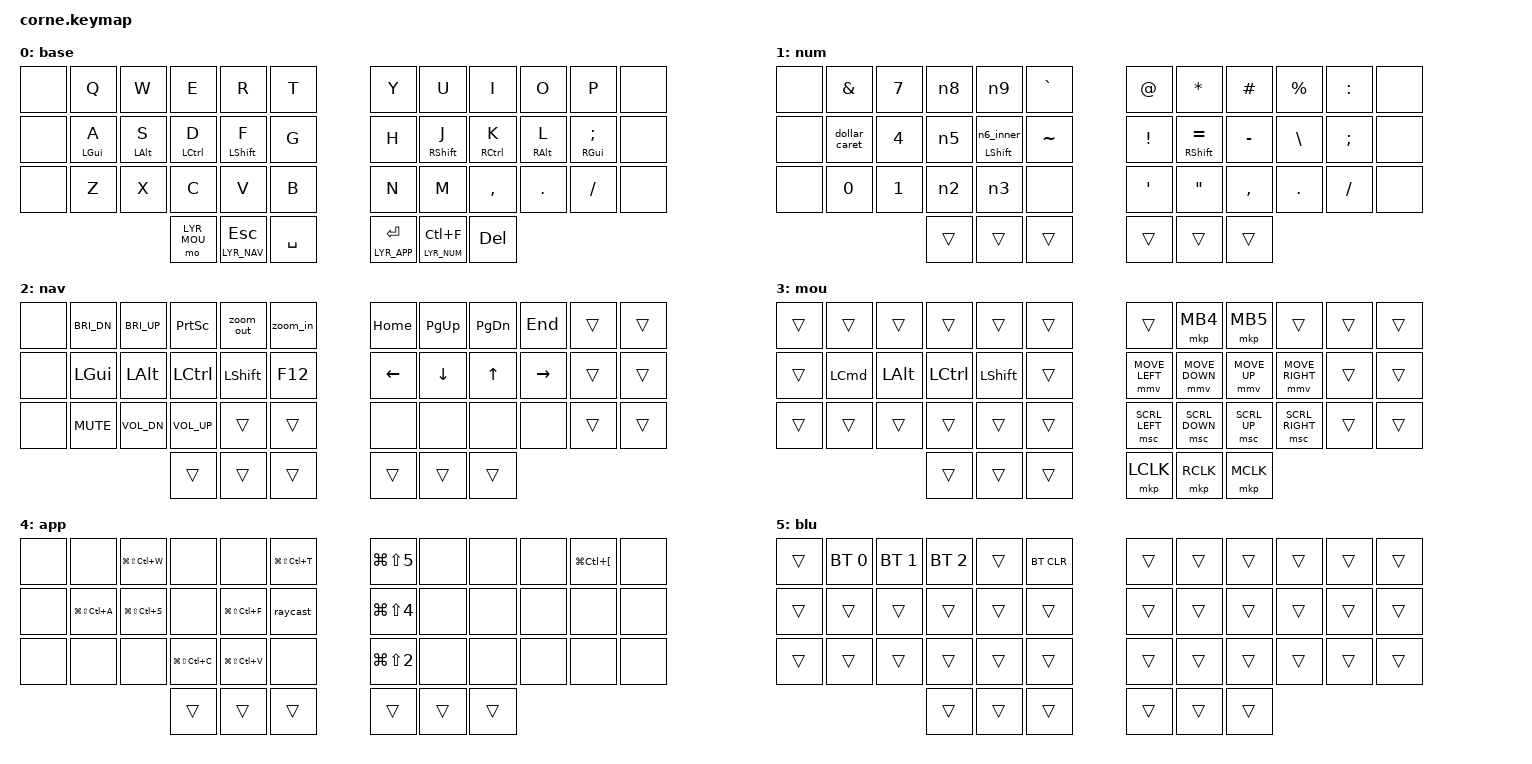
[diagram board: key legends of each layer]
/*
 * Copyright (c) 2020 The ZMK Contributors
 *
 * SPDX-License-Identifier: MIT
 */

#include <behaviors.dtsi>
#include <dt-bindings/zmk/bt.h>
#include <dt-bindings/zmk/keys.h>
#include <dt-bindings/zmk/pointing.h>

// Layer definitions
#define LYR_BASE 0
#define LYR_NUM  1
#define LYR_NAV  2
#define LYR_MOU  3
#define LYR_APP  4
#define LYR_BLU  5

/ {
    macros {
        vim_quit: vim_quit {
            compatible = "zmk,behavior-macro";
            #binding-cells = <0>;
            bindings = <&kp COLON &kp Q &kp EXCL &kp ENTER>;
        };
        raycast: raycast {
            compatible = "zmk,behavior-macro";
            #binding-cells = <0>;
            bindings = <&kp LG(SPACE)>;
        };
        zoom_out: zoom_out {
            compatible = "zmk,behavior-macro";
            #binding-cells = <0>;
            bindings = <&kp LG(MINUS)>;
        };
        zoom_in: zoom_in {
            compatible = "zmk,behavior-macro";
            #binding-cells = <0>;
            bindings = <&macro_press &kp LGUI &kp LSHFT>, <&macro_tap &kp EQUAL>, <&macro_release &kp LGUI &kp LSHFT>;
        };
    };

    behaviors {
        hml: home_row_mod_left {
            compatible = "zmk,behavior-hold-tap";
            #binding-cells = <2>;
            flavor = "balanced";
            require-prior-idle-ms = <150>;
            tapping-term-ms = <280>;
            quick-tap-ms = <175>;
            bindings = <&kp>, <&kp>;
            hold-trigger-key-positions = <6 7 8 9 10 11 18 19 20 21 22 23 30 31 32 33 34 35 39 40 41>;
            hold-trigger-on-release;
        };
        hmr: home_row_mod_right {
            compatible = "zmk,behavior-hold-tap";
            #binding-cells = <2>;
            flavor = "balanced";
            require-prior-idle-ms = <150>;
            tapping-term-ms = <280>;
            quick-tap-ms = <175>;
            bindings = <&kp>, <&kp>;
            hold-trigger-key-positions = <0 1 2 3 4 5 12 13 14 15 16 17 24 25 26 27 28 29 36 37 38>;
            hold-trigger-on-release;
        };
        n2: num_2 {
            compatible = "zmk,behavior-mod-morph";
            #binding-cells = <0>;
            bindings = <&kp N2>, <&kp LBKT>;
            mods = <(MOD_LSFT|MOD_RSFT)>;
        };
        n3: num_3 {
            compatible = "zmk,behavior-mod-morph";
            #binding-cells = <0>;
            bindings = <&kp N3>, <&kp RBKT>;
            mods = <(MOD_LSFT|MOD_RSFT)>;
        };
        n5: num_5 {
            compatible = "zmk,behavior-mod-morph";
            #binding-cells = <0>;
            bindings = <&kp N5>, <&kp LPAR>;
            mods = <(MOD_LSFT|MOD_RSFT)>;
        };
        n6_inner: num_6_inner {
            compatible = "zmk,behavior-mod-morph";
            #binding-cells = <0>;
            bindings = <&kp N6>, <&kp RPAR>;
            mods = <(MOD_LSFT|MOD_RSFT)>;
        };
        n6: num_6 {
            compatible = "zmk,behavior-hold-tap";
            #binding-cells = <2>;
            flavor = "balanced";
            require-prior-idle-ms = <150>;
            tapping-term-ms = <280>;
            quick-tap-ms = <175>;
            bindings = <&kp>, <&n6_inner>;
            hold-trigger-on-release;
        };
        n8: num_8 {
            compatible = "zmk,behavior-mod-morph";
            #binding-cells = <0>;
            bindings = <&kp N8>, <&kp LBRC>;
            mods = <(MOD_LSFT|MOD_RSFT)>;
        };
        n9: num_9 {
            compatible = "zmk,behavior-mod-morph";
            #binding-cells = <0>;
            bindings = <&kp N9>, <&kp RBRC>;
            mods = <(MOD_LSFT|MOD_RSFT)>;
        };
        dollar_caret: dollar_caret {
            compatible = "zmk,behavior-mod-morph";
            #binding-cells = <0>;
            bindings = <&kp DOLLAR>, <&kp CARET>;
            mods = <(MOD_LSFT|MOD_RSFT)>;
        };
    };

    keymap {
        compatible = "zmk,keymap";

        default_layer {
            display-name = "base";

            // -----------------------------------------------------------------------------------------
            // |  TAB |  Q  |  W  |  E  |  R  |  T  |   |  Y  |  U   |  I  |  O  |  P  | BSPC |
            // | CTRL |  A  |  S  |  D  |  F  |  G  |   |  H  |  J   |  K  |  L  |  ;  |  '   |
            // | SHFT |  Z  |  X  |  C  |  V  |  B  |   |  N  |  M   |  ,  |  .  |  /  | ESC  |
            //                    | GUI | LWR | SPC |   | ENT | RSE  | ALT |

            bindings = <
&none  &kp Q       &kp W        &kp E        &kp R        &kp T        &kp Y      &kp U        &kp I        &kp O       &kp P           &none
&none  &hml LGUI A &hml LALT S  &hml LCTRL D &hml LSHFT F &kp G        &kp H      &hmr RSHFT J &hmr RCTRL K &hmr RALT L &hmr RGUI SEMI  &none
&none  &kp Z       &kp X        &kp C        &kp V        &kp B        &kp N      &kp M        &kp COMMA    &kp DOT     &kp FSLH        &none
                                &mo LYR_MOU  &lt LYR_NAV ESCAPE  &kp SPACE    &lt LYR_APP RET  &lt LYR_NUM LC(F)  &kp DEL
            >;
        };

        num {
            display-name = "num";

            bindings = <
&none  &kp AMPERSAND  &kp N7  &n8            &n9     &kp GRAVE    &kp AT   &kp ASTERISK     &kp HASH   &kp PERCENT  &kp COLON      &none
&none  &dollar_caret  &kp N4  &n5            &n6 LSHFT 0  &kp TILDE    &kp EXCL &mt RSHFT EQUAL  &kp MINUS  &kp BSLH     &kp SEMICOLON  &none
&none  &kp N0         &kp N1  &n2            &n3     &none        &kp SQT  &kp DQT          &kp COMMA  &kp DOT      &kp FSLH       &none
                              &trans         &trans  &trans       &trans   &trans           &trans
            >;
        };

        nav {
            bindings = <
&none  &kp C_BRI_DN  &kp C_BRI_UP  &kp PSCRN     &zoom_out   &zoom_in     &kp HOME        &kp PAGE_UP     &kp PAGE_DOWN  &kp END    &trans  &trans
&none  &kp LGUI      &kp LEFT_ALT  &kp LCTRL     &kp LSHFT   &kp F12      &kp LEFT_ARROW  &kp DOWN_ARROW  &kp UP_ARROW   &kp RIGHT  &trans  &trans
&none  &kp C_MUTE    &kp C_VOL_DN  &kp C_VOL_UP  &trans      &trans       &none           &none           &none          &none      &trans  &trans
                                   &trans        &trans      &trans       &trans          &trans          &trans
            >;

            label = "nav";
        };

        mou {
            bindings = <
&trans  &trans    &trans        &trans     &trans     &trans    &trans          &mkp MB4        &mkp MB5      &trans           &trans  &trans
&trans  &kp LCMD  &kp LEFT_ALT  &kp LCTRL  &kp LSHFT  &trans    &mmv MOVE_LEFT  &mmv MOVE_DOWN  &mmv MOVE_UP  &mmv MOVE_RIGHT  &trans  &trans
&trans  &trans    &trans        &trans     &trans     &trans    &msc SCRL_LEFT  &msc SCRL_DOWN  &msc SCRL_UP  &msc SCRL_RIGHT  &trans  &trans
                                &trans     &trans     &trans    &mkp LCLK       &mkp RCLK       &mkp MCLK
            >;

            label = "mou";
        };

        app {
            display-name = "app";

            bindings = <
&none  &none              &kp LG(LS(LC(W)))  &none  &none              &kp LG(LS(LC(T)))    &kp LG(LS(N5))  &none  &none  &none  &kp LG(LC(LBKT))  &none
&none  &kp LG(LS(LC(A)))  &kp LG(LS(LC(S)))  &none  &kp LG(LS(LC(F)))  &raycast             &kp LG(LS(N4))  &none  &none  &none  &none             &none
&none  &none              &none              &kp LG(LS(LC(C)))  &kp LG(LS(LC(V)))  &none    &kp LG(LS(N2))  &none  &none  &none  &none             &none
                                             &trans             &trans             &trans   &trans          &trans &trans
            >;

            label = "app";
        };

        blu {
            bindings = <
&trans  &bt BT_SEL 0  &bt BT_SEL 1  &bt BT_SEL 2  &trans         &bt BT_CLR    &trans  &trans  &trans  &trans  &trans  &trans
&trans  &trans        &trans        &trans        &trans         &trans        &trans  &trans  &trans  &trans  &trans  &trans
&trans  &trans        &trans        &trans        &trans         &trans        &trans  &trans  &trans  &trans  &trans  &trans
                                    &trans        &trans         &trans        &trans  &trans  &trans
            >;

            label = "blu";
        };
    };

    combos {
        compatible = "zmk,combos";

        combo_bluetooth {
            timeout-ms = <50>;
            key-positions = <26 27 28>;  // X C V
            bindings = <&mo LYR_BLU>;
        };

        combo_backspace {
            timeout-ms = <50>;
            key-positions = <20 21>;  // K L
            bindings = <&kp BACKSPACE>;
        };

        combo_tab {
            timeout-ms = <50>;
            key-positions = <14 15>;  // S D
            bindings = <&kp TAB>;
        };

        combo_copy {
            timeout-ms = <50>;
            key-positions = <26 27>;  // X C
            bindings = <&kp LG(C)>;
            layers = <LYR_BASE>;
        };

        combo_paste {
            timeout-ms = <50>;
            key-positions = <27 28>;  // C V
            bindings = <&kp LG(V)>;
            layers = <LYR_BASE>;
        };

        combo_clipboard_history {
            timeout-ms = <50>;
            key-positions = <15 16>;  // D F
            bindings = <&kp LG(LS(V))>;
            layers = <LYR_BASE>;
        };

        combo_vim_quit {
            timeout-ms = <50>;
            key-positions = <1 2>;  // Q W
            bindings = <&vim_quit>;
            layers = <LYR_BASE>;
        };

        combo_num_ctrl {
            timeout-ms = <50>;
            key-positions = <13 14>;  // A S in num layer
            bindings = <&kp LCTRL>;
            layers = <LYR_NUM>;
        };

        combo_num_backspace {
            timeout-ms = <50>;
            key-positions = <20 21>;  // - and \ (minus and backslash) in num layer
            bindings = <&kp BACKSPACE>;
            layers = <LYR_NUM>;
        };

        combo_nav_copy_url {
            timeout-ms = <50>;
            key-positions = <26 27>;  // X C
            bindings = <&kp LG(LS(C))>;
            layers = <LYR_NAV>;
        };
    };
};
